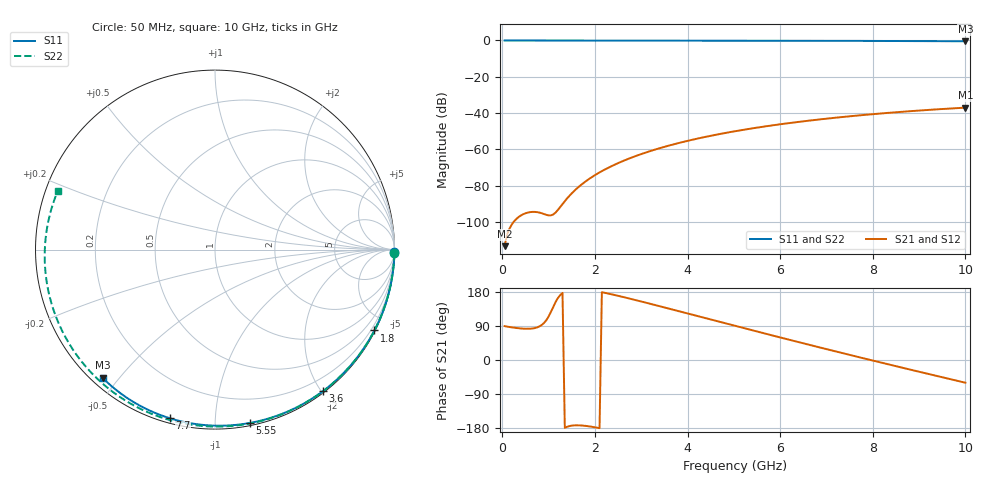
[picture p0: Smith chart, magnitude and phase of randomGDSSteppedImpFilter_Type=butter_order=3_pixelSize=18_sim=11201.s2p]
! freq	dB(S11)	phase(S11)	dB(S12)	phase(S12)
!  dB(S21)	phase(S21)	dB(S22)	phase(S22)
!S-par simulation data
#  GHz  S  DB  R 50
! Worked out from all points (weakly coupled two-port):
!   200 points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, 50 MHz to 10 GHz, reference 50 ohm
!   highest |S21| = -37.02 dB at 10 GHz (marker M1); lowest = -113.3 dB at 50 MHz (marker M2)
!   lowest |S11| = -0.4 dB at 10 GHz (marker M3), VSWR 39.10, Z = 1.54 - j22.6 ohm
!   |S11| at or under -10 dB: nowhere
!   |S22| runs from -0.6 to 0.0 dB; largest |S21 - S12| = 0
!   S11 on the Smith chart (normalised r, x): 50 MHz: open; 1.8 GHz: 0.04, -4.18; 3.6 GHz: 0.02, -2.02; 5.55 GHz: 0.02, -1.22; 7.7 GHz: 0.02, -0.77; 10 GHz: 0.03, -0.45
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0.05  -0.00 -0.8  -113.34 89.4  -113.34 89.4  -0.00 -1.2
0.4  -0.01 -6.0  -96.44 83.2  -96.44 83.2  -0.01 -9.6
0.8  -0.02 -12.1  -94.83 88.5  -94.83 88.5  -0.02 -19.1
1.2  -0.02 -18.0  -93.39 163.3  -93.39 163.3  -0.04 -28.5
1.65  -0.03 -24.7  -80.66 -172.4  -80.66 -172.4  -0.05 -39.0
1.7  -0.03 -25.4  -79.60 -172.7  -79.60 -172.7  -0.05 -40.1
1.75  -0.03 -26.2  -78.60 -173.2  -78.60 -173.2  -0.05 -41.3
1.8  -0.03 -26.9  -77.64 -173.9  -77.64 -173.9  -0.05 -42.4
2.1  -0.04 -31.3  -72.71 -179.9  -72.71 -179.9  -0.06 -49.2
2.5  -0.05 -37.1  -67.59 169.4  -67.59 169.4  -0.07 -58.0
2.9  -0.06 -42.8  -63.50 157.5  -63.50 157.5  -0.09 -66.7
3.4  -0.07 -49.8  -59.35 141.9  -59.35 141.9  -0.10 -77.3
3.6  -0.07 -52.6  -57.91 135.6  -57.91 135.6  -0.11 -81.4
4.3  -0.09 -62.2  -53.59 113.2  -53.59 113.2  -0.13 -95.5
5.05  -0.11 -72.1  -49.90 89.4  -49.90 89.4  -0.17 -109.9
5.55  -0.13 -78.6  -47.83 73.6  -47.83 73.6  -0.19 -119.3
6.15  -0.15 -86.2  -45.67 54.9  -45.67 54.9  -0.23 -130.2
6.7  -0.18 -92.9  -43.94 37.9  -43.94 37.9  -0.26 -140.1
7.7  -0.24 -104.9  -41.30 7.5  -41.30 7.5  -0.34 -157.9
8.35  -0.29 -112.5  -39.86 -11.9  -39.86 -11.9  -0.40 -169.5
9.2  -0.36 -122.2  -38.27 -36.8  -38.27 -36.8  -0.49 174.9
10  -0.44 -131.3  -37.02 -60.0  -37.02 -60.0  -0.58 159.7
